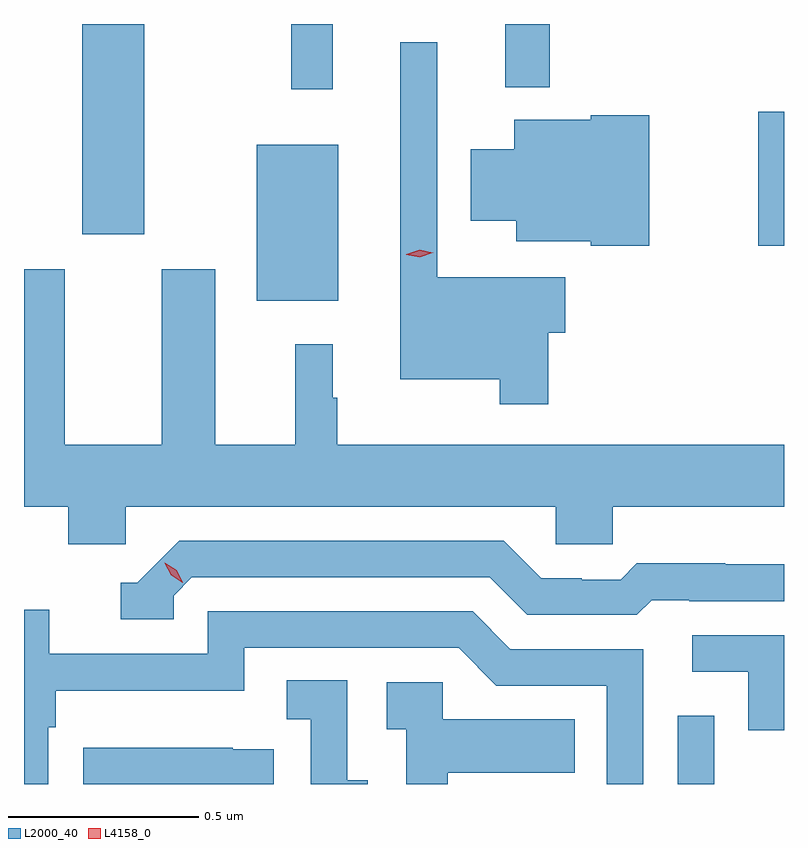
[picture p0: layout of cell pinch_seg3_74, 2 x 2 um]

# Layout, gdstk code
import gdstk
lib = gdstk.Library(unit=1e-6, precision=1e-09)
def R(c, l, rs):  # rectangles x0, y0, x1, y1
    for r in rs: c.add(gdstk.rectangle(r[:2], r[2:], *l))
def P(c, l, *ps):  # polygons
    for p in ps: c.add(gdstk.Polygon(p, *l))
L2000_40 = (2000, 40)
L4158_0 = (4158, 0)

pinch_seg3_74 = lib.new_cell('pinch_seg3_74')
R(pinch_seg3_74, L2000_40, [(1049.802,732.155,1049.898,732.334), (1048.694,733.427,1048.909,733.837), (1050.014,733.571,1050.082,733.924), (1048.235,733.602,1048.399,734.155), (1048.785,733.983,1048.895,734.155), (1049.348,733.988,1049.465,734.155)])
P(pinch_seg3_74, L2000_40, [(1049.462,733.342),(1049.506,733.342),(1049.506,733.489),(1049.169,733.489),(1049.169,734.107),(1049.072,734.107),(1049.072,733.22),(1049.334,733.22),(1049.334,733.155),(1049.462,733.155)],
  [(1049.728,733.915),(1049.574,733.915),(1049.574,733.903),(1049.372,733.903),(1049.372,733.825),(1049.258,733.825),(1049.258,733.637),(1049.378,733.637),(1049.378,733.583),(1049.574,733.583),(1049.574,733.571),(1049.728,733.571)],
  [(1048.35,732.884),(1049.481,732.884),(1049.481,732.786),(1049.631,732.786),(1049.631,732.884),(1050.082,732.884),(1050.082,733.048),(1048.906,733.048),(1048.906,733.172),(1048.894,733.172),(1048.894,733.312),(1048.796,733.312),(1048.796,733.048),(1048.585,733.048),(1048.585,733.51),(1048.445,733.51),(1048.445,733.048),(1048.189,733.048),(1048.189,733.51),(1048.082,733.51),(1048.082,732.884),(1048.199,732.884),(1048.199,732.786),(1048.35,732.786)],
  [(1048.476,732.651),(1048.524,732.699),(1049.307,732.699),(1049.406,732.6),(1049.695,732.6),(1049.734,732.639),(1049.833,732.639),(1049.833,732.636),(1050.082,732.636),(1050.082,732.733),(1049.928,732.733),(1049.928,732.736),(1049.695,732.736),(1049.653,732.693),(1049.55,732.693),(1049.55,732.696),(1049.443,732.696),(1049.344,732.795),(1048.491,732.795),(1048.38,732.684),(1048.337,732.684),(1048.337,732.588),(1048.476,732.588)],
  [(1048.146,732.305),(1048.166,732.305),(1048.166,732.401),(1048.662,732.401),(1048.662,732.513),(1049.226,732.513),(1049.325,732.414),(1049.616,732.414),(1049.616,732.155),(1049.712,732.155),(1049.712,732.51),(1049.362,732.51),(1049.263,732.609),(1048.566,732.609),(1048.566,732.498),(1048.148,732.498),(1048.148,732.614),(1048.082,732.614),(1048.082,732.155),(1048.146,732.155)],
  [(1050.082,732.546),(1049.841,732.546),(1049.841,732.45),(1049.988,732.45),(1049.988,732.297),(1050.082,732.297)],
  [(1048.987,732.165),(1048.932,732.165),(1048.932,732.428),(1048.773,732.428),(1048.773,732.325),(1048.836,732.325),(1048.836,732.155),(1048.987,732.155)],
  [(1049.197,732.185),(1049.531,732.185),(1049.531,732.325),(1049.184,732.325),(1049.184,732.423),(1049.037,732.423),(1049.037,732.299),(1049.088,732.299),(1049.088,732.155),(1049.197,732.155)],
  [(1048.739,732.247),(1048.631,732.247),(1048.631,732.25),(1048.238,732.25),(1048.238,732.155),(1048.739,732.155)])
P(pinch_seg3_74, L4158_0, [(1049.124,733.541),(1049.088,733.548),(1049.088,733.548),(1049.088,733.549),(1049.123,733.561),(1049.158,733.553),(1049.159,733.553),(1049.158,733.553)],
  [(1048.5,732.685),(1048.469,732.704),(1048.452,732.736),(1048.452,732.737),(1048.453,732.737),(1048.484,732.718),(1048.5,732.685),(1048.5,732.685)])

lib.write_gds('pinch_seg3_74.gds')
